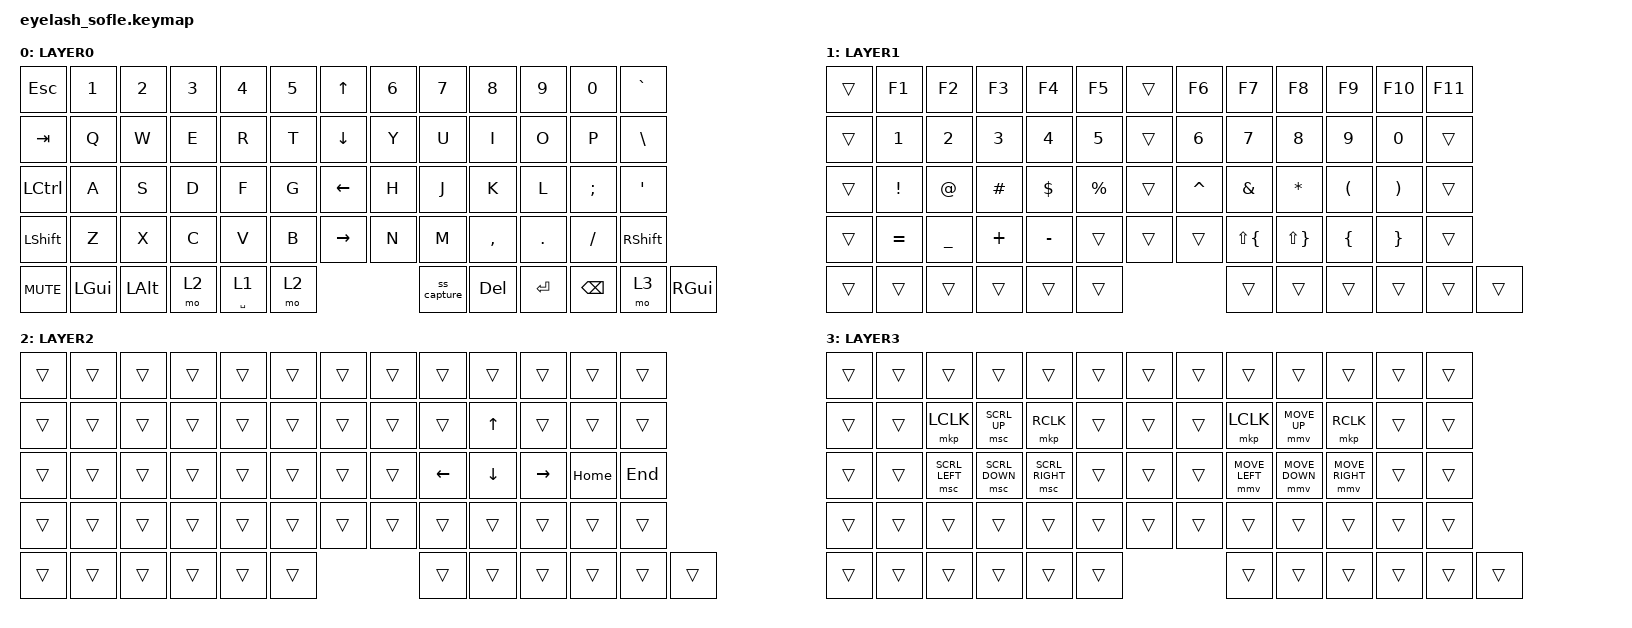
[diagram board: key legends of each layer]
#define ZMK_POINTING_DEFAULT_MOVE_VAL 1200  // 600
#define ZMK_POINTING_DEFAULT_SCRL_VAL 25   // 10

#include <input/processors.dtsi>
#include <zephyr/dt-bindings/input/input-event-codes.h>
#include <behaviors.dtsi>
#include <dt-bindings/zmk/keys.h>
#include <dt-bindings/zmk/pointing.h>

&mmv_input_listener { input-processors = <&zip_xy_scaler 2 1>; };

&msc_input_listener { input-processors = <&zip_scroll_scaler 2 1>; };

&msc {
    acceleration-exponent = <1>;      // 0
    time-to-max-speed-ms = <100>;       // 300
    delay-ms = <0>;                   // 0
};

&mmv {
    time-to-max-speed-ms = <500>;
    acceleration-exponent = <1>;
    trigger-period-ms = <16>;
};

&soft_off { hold-time-ms = <2000>; };

/ {
    behaviors {
        // Space on tap, layer 1 (symbols) on hold.
        // Ported from the old keyboard's tap dance TD(0) (110 ms term).
        ht_spc: ht_spc {
            compatible = "zmk,behavior-hold-tap";
            label = "SPC_MO1";
            #binding-cells = <2>;
            flavor = "tap-preferred";
            tapping-term-ms = <110>;
            bindings = <&kp>, <&mo>;
        };
    };

    macros {
        // Win + Shift + S (screenshot). Ported from the old keyboard's macro M0.
        ss_capture: ss_capture {
            compatible = "zmk,behavior-macro";
            #binding-cells = <0>;
            bindings =
                <&macro_press &kp LEFT_GUI &kp LEFT_SHIFT>,
                <&macro_tap &kp S>,
                <&macro_release &kp LEFT_GUI &kp LEFT_SHIFT>;
            label = "WIN_SHIFT_S";
        };
    };

    combos {
        compatible = "zmk,combos";

        softoff {
            bindings = <&soft_off>;
            key-positions = <14 28 40>;
        };
    };

    keymap {
        compatible = "zmk,keymap";

        layer0 {
            bindings = <
&kp ESC     &kp N1     &kp N2        &kp N3        &kp N4  &kp N5       &kp UP_ARROW     &kp N6     &kp N7     &kp N8     &kp N9           &kp N0      &kp GRAVE
&kp TAB     &kp Q      &kp W         &kp E         &kp R   &kp T        &kp DOWN_ARROW   &kp Y      &kp U      &kp I      &kp O            &kp P       &kp BSLH
&kp LCTRL   &kp A      &kp S         &kp D         &kp F   &kp G        &kp LEFT_ARROW   &kp H      &kp J      &kp K      &kp L            &kp SEMI    &kp APOS
&kp LSHFT   &kp Z      &kp X         &kp C         &kp V   &kp B        &kp RIGHT_ARROW  &kp N      &kp M      &kp COMMA  &kp DOT          &kp FSLH    &kp RSHFT
&kp C_MUTE  &kp LGUI   &kp LALT      &mo 2         &ht_spc SPACE 1       &mo 2             &ss_capture      &kp DELETE &kp ENTER  &kp BSPC  &mo 3       &kp RGUI
            >;

            display-name = "LAYER0";
        };

        layer_1 {
            bindings = <
&trans      &kp F1       &kp F2     &kp F3      &kp F4       &kp F5        &trans      &kp F6       &kp F7      &kp F8      &kp F9     &kp F10         &kp F11
&trans      &kp N1       &kp N2     &kp N3      &kp N4       &kp N5        &trans      &kp N6       &kp N7      &kp N8      &kp N9     &kp N0           &trans
&trans      &kp EXCL     &kp AT     &kp HASH    &kp DOLLAR   &kp PERCENT   &trans      &kp CARET    &kp AMPS    &kp STAR    &kp LPAR   &kp RPAR         &trans
&trans      &kp EQUAL    &kp UNDER  &kp PLUS    &kp MINUS    &trans        &trans      &trans       &kp LS(LBRC) &kp LS(RBRC) &kp LBRC  &kp RBRC        &trans
&trans      &trans       &trans     &trans      &trans       &trans        &trans      &trans       &trans      &trans      &trans     &trans
            >;

            display-name = "LAYER1";
        };

        layer_2 {
            bindings = <
&trans  &trans  &trans  &trans  &trans  &trans    &trans  &trans  &trans  &trans  &trans  &trans  &trans
&trans  &trans  &trans  &trans  &trans  &trans    &trans  &trans  &trans  &kp UP_ARROW  &trans  &trans  &trans
&trans  &trans  &trans  &trans  &trans  &trans    &trans  &trans  &kp LEFT_ARROW  &kp DOWN_ARROW  &kp RIGHT_ARROW  &kp HOME  &kp END
&trans  &trans  &trans  &trans  &trans  &trans    &trans  &trans  &trans  &trans  &trans  &trans  &trans
&trans  &trans  &trans  &trans  &trans  &trans    &trans  &trans  &trans  &trans  &trans  &trans
            >;

            display-name = "LAYER2";
        };

        layer_3 {
            bindings = <
&trans  &trans  &trans  &trans  &trans  &trans    &trans  &trans  &trans  &trans  &trans  &trans  &trans
&trans  &trans  &mkp LCLK  &msc SCRL_UP  &mkp RCLK  &trans    &trans  &trans  &mkp LCLK  &mmv MOVE_UP  &mkp RCLK  &trans  &trans
&trans  &trans  &msc SCRL_LEFT  &msc SCRL_DOWN  &msc SCRL_RIGHT  &trans    &trans  &trans  &mmv MOVE_LEFT  &mmv MOVE_DOWN  &mmv MOVE_RIGHT  &trans  &trans
&trans  &trans  &trans  &trans  &trans  &trans    &trans  &trans  &trans  &trans  &trans  &trans  &trans
&trans  &trans  &trans  &trans  &trans  &trans    &trans  &trans  &trans  &trans  &trans  &trans
            >;

            display-name = "LAYER3";
        };
    };
};
